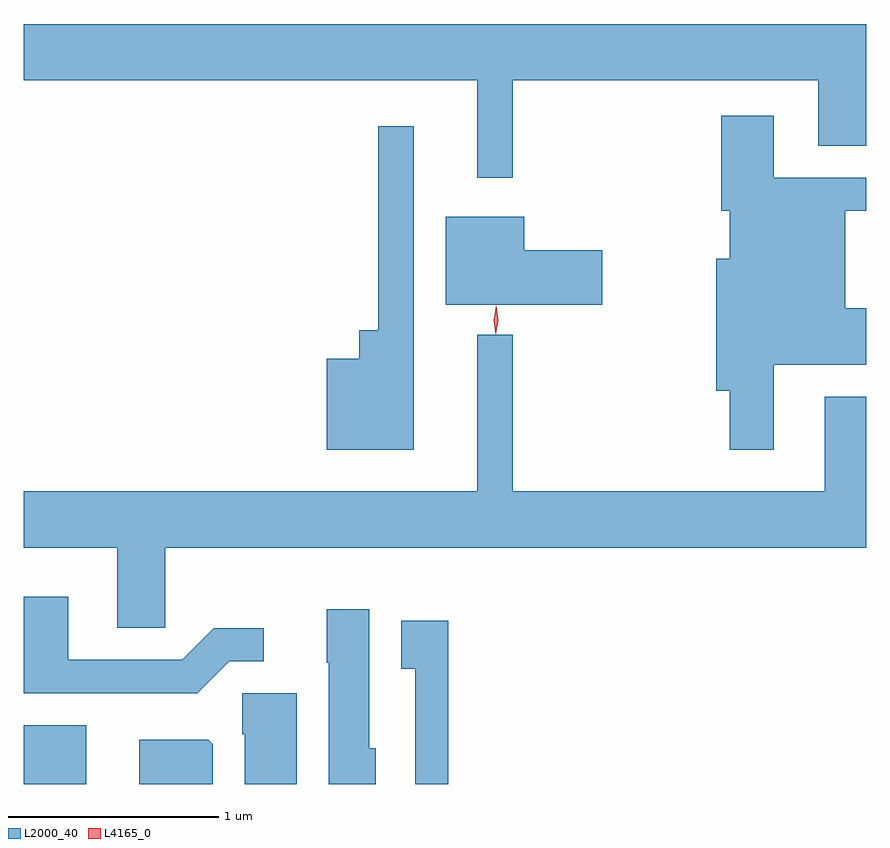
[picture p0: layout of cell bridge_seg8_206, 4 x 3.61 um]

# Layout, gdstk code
import gdstk
lib = gdstk.Library(unit=1e-6, precision=1e-09)
def R(c, l, rs):  # rectangles x0, y0, x1, y1
    for r in rs: c.add(gdstk.rectangle(r[:2], r[2:], *l))
def P(c, l, *ps):  # polygons
    for p in ps: c.add(gdstk.Polygon(p, *l))
L2000_40 = (2000, 40)
L4165_0 = (4165, 0)

bridge_seg8_206 = lib.new_cell('bridge_seg8_206')
R(bridge_seg8_206, L2000_40, [(1219.148,1895.234,1219.444,1895.514)])
P(bridge_seg8_206, L2000_40, [(1221.469,1898.576),(1222.921,1898.576),(1222.921,1898.266),(1223.148,1898.266),(1223.148,1898.844),(1219.148,1898.844),(1219.148,1898.576),(1221.301,1898.576),(1221.301,1898.113),(1221.469,1898.113)],
  [(1222.709,1897.226),(1223.148,1897.226),(1223.148,1897.494),(1223.049,1897.494),(1223.049,1897.956),(1223.148,1897.956),(1223.148,1898.114),(1222.709,1898.114),(1222.709,1898.409),(1222.461,1898.409),(1222.461,1897.956),(1222.501,1897.956),(1222.501,1897.729),(1222.436,1897.729),(1222.436,1897.101),(1222.501,1897.101),(1222.501,1896.821),(1222.709,1896.821)],
  [(1220.999,1898.358),(1220.831,1898.358),(1220.831,1897.389),(1220.741,1897.389),(1220.741,1897.254),(1220.586,1897.254),(1220.586,1896.821),(1220.999,1896.821)],
  [(1221.894,1897.769),(1221.524,1897.769),(1221.524,1897.929),(1221.151,1897.929),(1221.151,1897.511),(1221.894,1897.511)],
  [(1219.819,1896.356),(1223.148,1896.356),(1223.148,1897.074),(1222.951,1897.074),(1222.951,1896.624),(1221.469,1896.624),(1221.469,1897.368),(1221.301,1897.368),(1221.301,1896.624),(1219.148,1896.624),(1219.148,1896.356),(1219.591,1896.356),(1219.591,1895.976),(1219.819,1895.976)],
  [(1220.122,1895.816),(1220.288,1895.816),(1220.288,1895.974),(1220.049,1895.974),(1219.899,1895.824),(1219.359,1895.824),(1219.359,1896.124),(1219.148,1896.124),(1219.148,1895.666),(1219.972,1895.666)],
  [(1220.819,1895.404),(1220.789,1895.404),(1220.789,1896.064),(1220.586,1896.064),(1220.586,1895.81),(1220.596,1895.81),(1220.596,1895.234),(1220.819,1895.234)],
  [(1221.164,1896.009),(1220.941,1896.009),(1220.941,1895.781),(1221.006,1895.781),(1221.006,1895.234),(1221.164,1895.234)],
  [(1220.444,1895.664),(1220.186,1895.664),(1220.186,1895.47),(1220.196,1895.47),(1220.196,1895.234),(1220.444,1895.234)],
  [(1220.044,1895.424),(1220.024,1895.444),(1219.696,1895.444),(1219.696,1895.234),(1220.044,1895.234)])
P(bridge_seg8_206, L4165_0, [(1221.389,1897.373),(1221.389,1897.374),(1221.38,1897.436),(1221.391,1897.499),(1221.391,1897.5),(1221.392,1897.499),(1221.4,1897.436),(1221.39,1897.374)],
  [(1221.389,1897.37),(1221.38,1897.438),(1221.391,1897.505),(1221.391,1897.506),(1221.392,1897.505),(1221.4,1897.438),(1221.39,1897.37),(1221.39,1897.37)])

lib.write_gds('bridge_seg8_206.gds')
